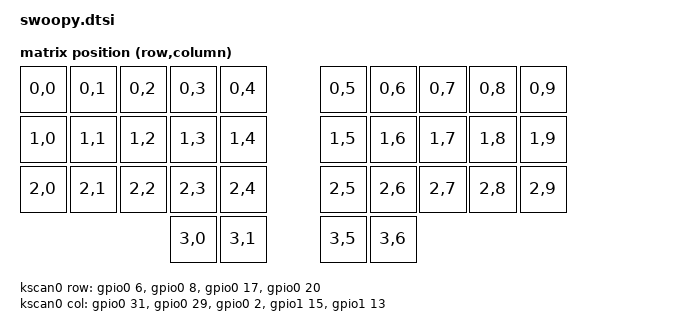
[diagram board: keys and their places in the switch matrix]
/*
 * Copyright (c) 2020 The ZMK Contributors
 *
 * SPDX-License-Identifier: MIT
 */

#include <dt-bindings/zmk/matrix_transform.h>

/ {
    chosen {
        zmk,kscan = &kscan0;
        zmk,matrix-transform = &default_transform;
        zmk,physical-layout = &physical_layout0;
    };

    default_transform: keymap_transform_0 {
        compatible = "zmk,matrix-transform";
        columns = <10>; // 5 Spalten links + 5 Spalten rechts [cite: 6]
        rows = <4>;
        map = <
        // Linke Seite                // Rechte Seite (mit Offset)
        RC(0,0) RC(0,1) RC(0,2) RC(0,3) RC(0,4)    RC(0,5) RC(0,6) RC(0,7) RC(0,8) RC(0,9)
        RC(1,0) RC(1,1) RC(1,2) RC(1,3) RC(1,4)    RC(1,5) RC(1,6) RC(1,7) RC(1,8) RC(1,9)
        RC(2,0) RC(2,1) RC(2,2) RC(2,3) RC(2,4)    RC(2,5) RC(2,6) RC(2,7) RC(2,8) RC(2,9)
                        RC(3,0) RC(3,1)            RC(3,5) RC(3,6)
        >;
    };

    kscan0: kscan {
        compatible = "zmk,kscan-gpio-matrix";
        wakeup-source;
        diode-direction = "col2row"; 

        row-gpios
            = <&gpio0 6  (GPIO_ACTIVE_HIGH | GPIO_PULL_DOWN)> // Pro Micro 7  -> P0.06
            , <&gpio0 8  (GPIO_ACTIVE_HIGH | GPIO_PULL_DOWN)> // Pro Micro 8  -> P0.08
            , <&gpio0 17 (GPIO_ACTIVE_HIGH | GPIO_PULL_DOWN)> // Pro Micro 9  -> P0.17
            , <&gpio0 20 (GPIO_ACTIVE_HIGH | GPIO_PULL_DOWN)> // Pro Micro 10 -> P0.20
            ;

        col-gpios
            = <&gpio0 31 GPIO_ACTIVE_HIGH> // Pro Micro 16 -> P0.31
            , <&gpio0 29 GPIO_ACTIVE_HIGH> // Pro Micro 17 -> P0.29
            , <&gpio0  2 GPIO_ACTIVE_HIGH> // Pro Micro 18 -> P0.02
            , <&gpio1 15 GPIO_ACTIVE_HIGH> // Pro Micro 19 -> P1.15
            , <&gpio1 13 GPIO_ACTIVE_HIGH> // Pro Micro 20 -> P1.13
            ;
    };

    /* ZMK Studio Physical Layout Definition */
    physical_layout0: physical_layout_0 {
        compatible = "zmk,physical-layout";
        display-name = "Default Layout";
        transform = <&default_transform>;
        kscan = <&kscan0>;
    };
};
